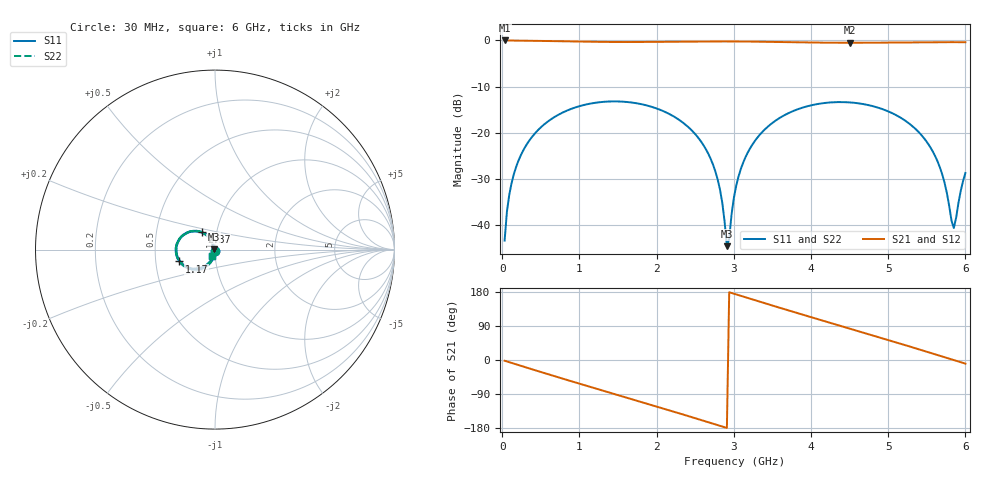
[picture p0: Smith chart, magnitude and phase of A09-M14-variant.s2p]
! yapnr Order 0 O0-M: O0-M A09 M1.4 30 (variant, family M1.4)
! stackup OSHPARK-4L-EM528, nominal parameters; geometry of the OSHPARK-4L-FR408HR design
! model: 2D quasi-static RLGC (Djordjevic-Sarkar, Huray roughness, Wheeler loss); generated by python -m yapnr.rf.coupons expected --stackup OSHPARK-4L-FR408HR --upload M
! reference planes 10 mm from each end; 50 ohm (from the M line's Zc)
# GHz S DB R 50
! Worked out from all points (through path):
!   200 points, 30 MHz to 6 GHz, reference 50 ohm
!   highest |S21| = -0.01 dB at 30 MHz (marker M1); lowest = -0.5 dB at 4.5 GHz (marker M2)
!   group delay of S21, straight-line fit = 171 ps
!   lowest |S11| = -44.5 dB at 2.91 GHz (marker M3), VSWR 1.01, Z = 49.5 + j0.233 ohm
!   |S11| at or under -10 dB: start of sweep to end of sweep
!   |S22| runs from -44.5 to -13.2 dB; largest |S21 - S12| = 0
!   S11 on the Smith chart (normalised r, x): 30 MHz: 1.00, -0.01; 1.17 GHz: 0.66, -0.09; 2.37 GHz: 0.85, +0.17; 6 GHz: 0.97, -0.07
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0.03  -43.28 -84.5  -0.01 -2.0  -0.01 -2.0  -43.28 -84.5
0.06  -37.02 -88.9  -0.01 -3.9  -0.01 -3.9  -37.02 -88.9
0.12  -30.86 -94.4  -0.02 -7.7  -0.02 -7.7  -30.86 -94.4
0.3  -22.93 -107.2  -0.06 -19.1  -0.06 -19.1  -22.93 -107.2
0.6  -17.41 -126.6  -0.14 -37.9  -0.14 -37.9  -17.41 -126.6
1.05  -13.99 -154.4  -0.27 -65.5  -0.27 -65.5  -13.99 -154.4
1.17  -13.57 -161.7  -0.30 -72.8  -0.30 -72.8  -13.57 -161.7
2.04  -14.97 146.6  -0.31 -125.2  -0.31 -125.2  -14.97 146.6
2.37  -18.16 127.2  -0.25 -145.5  -0.25 -145.5  -18.16 127.2
2.76  -28.29 108.6  -0.22 -169.9  -0.22 -169.9  -28.29 108.6
2.85  -35.07 112.8  -0.21 -175.6  -0.21 -175.6  -35.07 112.8
2.91  -44.49 156.8  -0.22 -179.3  -0.22 -179.3  -44.49 156.8
3.03  -31.48 -108.1  -0.23 173.1  -0.23 173.1  -31.48 -108.1
3.15  -25.28 -109.5  -0.24 165.6  -0.24 165.6  -25.28 -109.5
3.36  -19.95 -119.8  -0.28 152.4  -0.28 152.4  -19.95 -119.8
4.02  -13.96 -158.1  -0.46 111.9  -0.46 111.9  -13.96 -158.1
4.5  -13.40 173.9  -0.51 83.0  -0.51 83.0  -13.40 173.9
5.01  -15.41 144.5  -0.46 52.1  -0.46 52.1  -15.41 144.5
5.58  -24.09 115.4  -0.38 16.8  -0.38 16.8  -24.09 115.4
5.73  -30.78 116.4  -0.38 7.4  -0.38 7.4  -30.78 116.4
5.85  -40.57 -175.5  -0.38 -0.2  -0.38 -0.2  -40.57 -175.5
6  -28.66 -113.8  -0.39 -9.6  -0.39 -9.6  -28.66 -113.8
